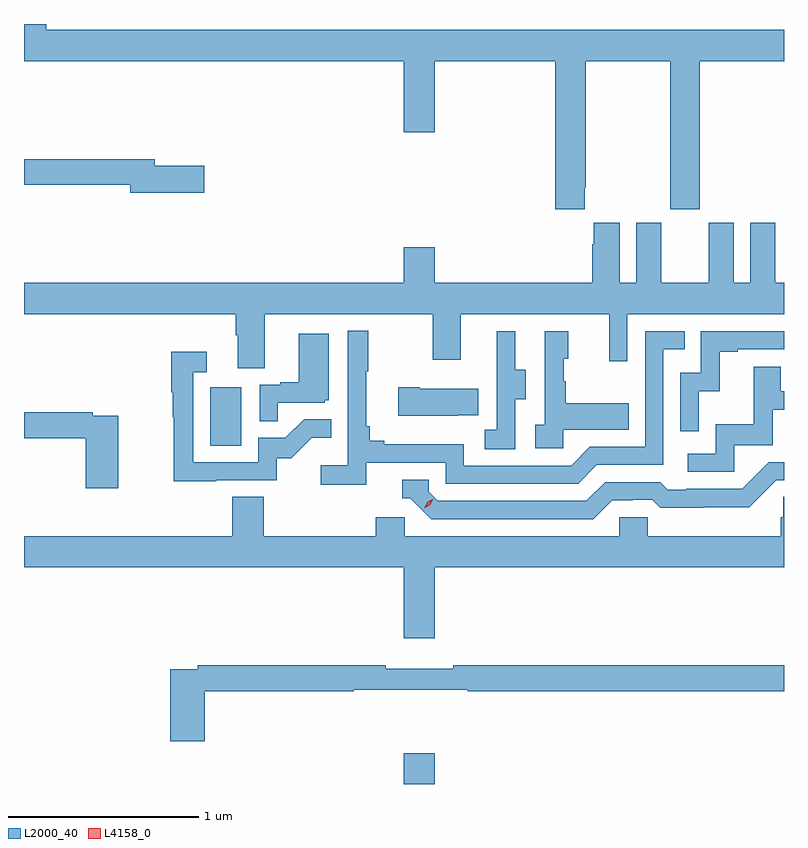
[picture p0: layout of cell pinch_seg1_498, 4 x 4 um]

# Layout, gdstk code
import gdstk
lib = gdstk.Library(unit=1e-6, precision=1e-09)
def R(c, l, rs):  # rectangles x0, y0, x1, y1
    for r in rs: c.add(gdstk.rectangle(r[:2], r[2:], *l))
def P(c, l, *ps):  # polygons
    for p in ps: c.add(gdstk.Polygon(p, *l))
L2000_40 = (2000, 40)
L4158_0 = (4158, 0)

pinch_seg1_498 = lib.new_cell('pinch_seg1_498')
R(pinch_seg1_498, L2000_40, [(1136.036,534.607,1136.2,534.769), (1135.016,536.388,1135.18,536.695)])
P(pinch_seg1_498, L2000_40, [(1136.989,537.745),(1136.994,537.745),(1136.994,538.412),(1137.439,538.412),(1137.439,537.633),(1137.594,537.633),(1137.594,538.412),(1138.037,538.412),(1138.037,538.576),(1134.155,538.576),(1134.155,538.607),(1134.039,538.607),(1134.039,538.576),(1134.037,538.576),(1134.037,538.412),(1136.036,538.412),(1136.036,538.038),(1136.2,538.038),(1136.2,538.412),(1136.834,538.412),(1136.834,537.633),(1136.989,537.633)],
  [(1134.985,537.86),(1134.724,537.86),(1134.724,537.896),(1134.037,537.896),(1134.037,537.76),(1134.596,537.76),(1134.596,537.718),(1134.985,537.718)],
  [(1135.303,537.08),(1136.188,537.08),(1136.188,536.841),(1136.335,536.841),(1136.335,537.08),(1137.116,537.08),(1137.116,536.832),(1137.213,536.832),(1137.213,537.08),(1138.037,537.08),(1138.037,537.244),(1137.991,537.244),(1137.991,537.562),(1137.86,537.562),(1137.86,537.244),(1137.772,537.244),(1137.772,537.562),(1137.641,537.562),(1137.641,537.244),(1137.391,537.244),(1137.391,537.562),(1137.26,537.562),(1137.26,537.244),(1137.172,537.244),(1137.172,537.562),(1137.035,537.562),(1137.035,537.449),(1137.029,537.449),(1137.029,537.244),(1136.2,537.244),(1136.2,537.433),(1136.036,537.433),(1136.036,537.244),(1134.037,537.244),(1134.037,537.08),(1135.151,537.08),(1135.151,536.968),(1135.163,536.968),(1135.163,536.794),(1135.303,536.794)],
  [(1135.838,536.298),(1136.256,536.298),(1136.256,536.187),(1136.953,536.187),(1137.052,536.286),(1137.402,536.286),(1137.402,536.895),(1137.515,536.895),(1137.515,536.991),(1137.306,536.991),(1137.306,536.382),(1137.015,536.382),(1136.916,536.283),(1136.352,536.283),(1136.352,536.395),(1135.933,536.395),(1135.933,536.414),(1135.856,536.414),(1135.856,536.491),(1135.837,536.491),(1135.837,536.779),(1135.849,536.779),(1135.849,536.992),(1135.74,536.992),(1135.74,536.284),(1135.599,536.284),(1135.599,536.182),(1135.838,536.182)],
  [(1137.588,536.675),(1137.698,536.675),(1137.698,536.883),(1137.793,536.883),(1137.793,536.895),(1138.037,536.895),(1138.037,536.991),(1137.6,536.991),(1137.6,536.772),(1137.492,536.772),(1137.492,536.463),(1137.588,536.463)],
  [(1136.874,536.471),(1137.221,536.471),(1137.221,536.611),(1136.887,536.611),(1136.887,536.726),(1136.877,536.726),(1136.877,536.844),(1136.902,536.844),(1136.902,536.989),(1136.778,536.989),(1136.778,536.498),(1136.727,536.498),(1136.727,536.373),(1136.874,536.373)],
  [(1136.622,536.632),(1136.677,536.632),(1136.677,536.787),(1136.623,536.787),(1136.623,536.989),(1136.525,536.989),(1136.525,536.775),(1136.526,536.775),(1136.526,536.471),(1136.463,536.471),(1136.463,536.368),(1136.622,536.368)],
  [(1135.373,536.613),(1135.62,536.613),(1135.62,536.628),(1135.642,536.628),(1135.642,536.977),(1135.484,536.977),(1135.484,536.722),(1135.385,536.722),(1135.385,536.709),(1135.278,536.709),(1135.278,536.515),(1135.373,536.515)],
  [(1135.049,536.205),(1135.368,536.205),(1135.368,536.322),(1135.444,536.322),(1135.551,536.429),(1135.655,536.429),(1135.655,536.528),(1135.511,536.528),(1135.413,536.43),(1135.269,536.43),(1135.269,536.301),(1134.927,536.301),(1134.927,536.775),(1135,536.775),(1135,536.881),(1134.811,536.881),(1134.811,536.668),(1134.819,536.668),(1134.819,536.538),(1134.826,536.538),(1134.826,536.2),(1135.049,536.2)],
  [(1137.774,536.391),(1137.979,536.391),(1137.979,536.577),(1138.037,536.577),(1138.037,536.673),(1138.021,536.673),(1138.021,536.803),(1137.877,536.803),(1137.877,536.5),(1137.678,536.5),(1137.678,536.346),(1137.531,536.346),(1137.531,536.25),(1137.774,536.25)],
  [(1136.321,536.549),(1136.429,536.549),(1136.429,536.686),(1136.119,536.686),(1136.119,536.694),(1136.007,536.694),(1136.007,536.546),(1136.321,536.546)],
  [(1134.532,536.544),(1134.398,536.544),(1134.398,536.564),(1134.037,536.564),(1134.037,536.428),(1134.362,536.428),(1134.362,536.163),(1134.532,536.163)],
  [(1137.133,536.1),(1137.24,536.1),(1137.24,536.103),(1137.343,536.103),(1137.385,536.061),(1137.618,536.061),(1137.618,536.063),(1137.854,536.063),(1137.996,536.205),(1138.037,536.205),(1138.037,536.301),(1137.957,536.301),(1137.816,536.16),(1137.523,536.16),(1137.523,536.157),(1137.424,536.157),(1137.385,536.196),(1137.096,536.196),(1136.997,536.097),(1136.214,536.097),(1136.166,536.145),(1136.166,536.208),(1136.027,536.208),(1136.027,536.112),(1136.07,536.112),(1136.181,536.001),(1137.034,536.001)],
  [(1136.2,535.748),(1138.037,535.748),(1138.037,536.12),(1138.033,536.12),(1138.033,536.01),(1138.019,536.01),(1138.019,535.912),(1137.321,535.912),(1137.321,536.01),(1137.171,536.01),(1137.171,535.912),(1136.04,535.912),(1136.04,536.01),(1135.889,536.01),(1135.889,535.912),(1135.298,535.912),(1135.298,536.12),(1135.133,536.12),(1135.133,535.912),(1134.037,535.912),(1134.037,535.748),(1136.036,535.748),(1136.036,535.374),(1136.2,535.374)],
  [(1134.989,535.096),(1135.772,535.096),(1135.772,535.104),(1136.372,535.104),(1136.372,535.096),(1138.037,535.096),(1138.037,535.232),(1136.296,535.232),(1136.296,535.213),(1135.94,535.213),(1135.94,535.232),(1134.952,535.232),(1134.952,535.212),(1134.806,535.212),(1134.806,534.831),(1134.989,534.831)])
P(pinch_seg1_498, L4158_0, [(1136.144,536.058),(1136.144,536.058),(1136.16,536.09),(1136.191,536.109),(1136.192,536.109),(1136.192,536.109),(1136.175,536.077),(1136.144,536.058)])

lib.write_gds('pinch_seg1_498.gds')
